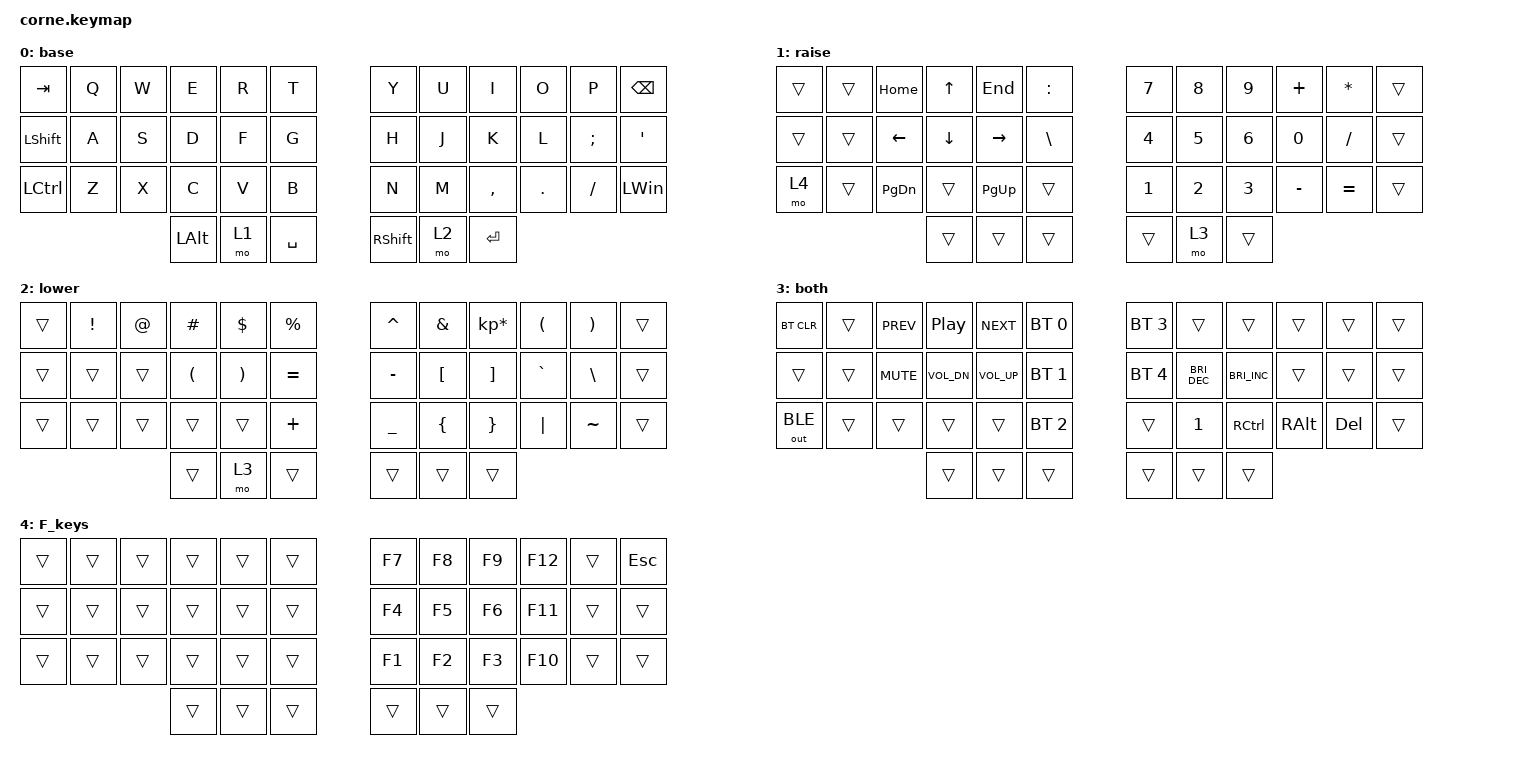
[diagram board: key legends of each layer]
/*
 * Copyright (c) 2020 The ZMK Contributors
 *
 * SPDX-License-Identifier: MIT
 */

#include <behaviors.dtsi>
#include <dt-bindings/zmk/bt.h>
#include <dt-bindings/zmk/keys.h>
#include <dt-bindings/zmk/outputs.h>

// dt-formatter: indent = "  "
// dt-formatter: reindentMultilineIntegerCells = "dedent"

/ {
  behaviors {
    hm: homerow_mods {
      compatible = "zmk,behavior-hold-tap";
      label = "HOMEROW_MODS";
      #binding-cells = <2>;
      tapping-term-ms = <150>;
      quick-tap-ms = <0>;
      flavor = "tap-preferred";
      bindings = <&kp>, <&kp>;
    };
  };

  combos {
    compatible = "zmk,combos";

    deletekey {
      bindings = <&kp DELETE>;
      key-positions = <39 11>;
    };

    winbutton {
      bindings = <&kp LEFT_GUI>;
      key-positions = <36 38>;
    };

    Copy {
      bindings = <&kp LC(C)>;
      key-positions = <0 1>;
    };

    Paste {
      bindings = <&kp LC(V)>;
      key-positions = <12 13>;
    };

    Linux_Terminal {
      bindings = <&kp LC(LA(T))>;
      key-positions = <24 25 26 27>;
    };

    cmd_paste {
      bindings = <&kp RS(RC(V))>;
      key-positions = <12 13 14>;
    };

    LHand_BKSP {
      bindings = <&kp BACKSPACE>;
      key-positions = <0 1 2>;
    };

    LHand_Del {
      bindings = <&kp DEL>;
      key-positions = <0 2>;
    };
  };

  keymap {
    compatible = "zmk,keymap";

    base {
      bindings = <
&kp TAB    &kp Q  &kp W  &kp E         &kp R  &kp T        &kp Y            &kp U  &kp I      &kp O    &kp P          &kp BACKSPACE
&kp LSHFT  &kp A  &kp S  &kp D         &kp F  &kp G        &kp H            &kp J  &kp K      &kp L    &kp SEMICOLON  &kp APOS
&kp LCTRL  &kp Z  &kp X  &kp C         &kp V  &kp B        &kp N            &kp M  &kp COMMA  &kp DOT  &kp FSLH       &kp LEFT_WIN
                         &kp LEFT_ALT  &mo 1  &kp SPACE    &kp RIGHT_SHIFT  &mo 2  &kp ENTER
      >;
    };

    raise {
      bindings = <
&trans  &trans  &kp HOME       &kp UP    &kp END    &kp COLON        &kp NUMBER_7  &kp NUMBER_8  &kp NUMBER_9  &kp PLUS      &kp ASTERISK  &trans
&trans  &trans  &kp LEFT       &kp DOWN  &kp RIGHT  &kp BACKSLASH    &kp NUMBER_4  &kp NUMBER_5  &kp NUMBER_6  &kp NUMBER_0  &kp SLASH     &trans
&mo 4   &trans  &kp PAGE_DOWN  &trans    &kp PG_UP  &trans           &kp N1        &kp NUMBER_2  &kp NUMBER_3  &kp MINUS     &kp EQUAL     &trans
                               &trans    &trans     &trans           &trans        &mo 3         &trans
      >;
    };

    lower {
      bindings = <
&trans  &kp EXCL  &kp AT  &kp HASH              &kp DLLR               &kp PRCNT    &kp CARET  &kp AMPS          &kp KP_MULTIPLY    &kp LPAR   &kp RPAR   &trans
&trans  &trans    &trans  &kp LEFT_PARENTHESIS  &kp RIGHT_PARENTHESIS  &kp EQUAL    &kp MINUS  &kp LEFT_BRACKET  &kp RIGHT_BRACKET  &kp GRAVE  &kp BSLH   &trans
&trans  &trans    &trans  &trans                &trans                 &kp PLUS     &kp UNDER  &kp LEFT_BRACE    &kp RIGHT_BRACE    &kp PIPE   &kp TILDE  &trans
                          &trans                &mo 3                  &trans       &trans     &trans            &trans
      >;
    };

    both {
      bindings = <
&bt BT_CLR    &trans  &kp C_PREV  &kp C_PLAY_PAUSE  &kp C_NEXT       &bt BT_SEL 0    &bt BT_SEL 3  &trans                &trans                &trans         &trans   &trans
&trans        &trans  &kp K_MUTE  &kp C_VOL_DN      &kp C_VOLUME_UP  &bt BT_SEL 1    &bt BT_SEL 4  &kp C_BRIGHTNESS_DEC  &kp C_BRIGHTNESS_INC  &trans         &trans   &trans
&out OUT_BLE  &trans  &trans      &trans            &trans           &bt BT_SEL 2    &trans        &kp NUMBER_1          &kp RIGHT_CONTROL     &kp RIGHT_ALT  &kp DEL  &trans
                                  &trans            &trans           &trans          &trans        &trans                &trans
      >;
    };

    F_keys {
      bindings = <
&trans  &trans  &trans  &trans  &trans  &trans    &kp F7  &kp F8  &kp F9  &kp F12  &trans  &kp ESC
&trans  &trans  &trans  &trans  &trans  &trans    &kp F4  &kp F5  &kp F6  &kp F11  &trans  &trans
&trans  &trans  &trans  &trans  &trans  &trans    &kp F1  &kp F2  &kp F3  &kp F10  &trans  &trans
                        &trans  &trans  &trans    &trans  &trans  &trans
      >;
    };
  };
};
